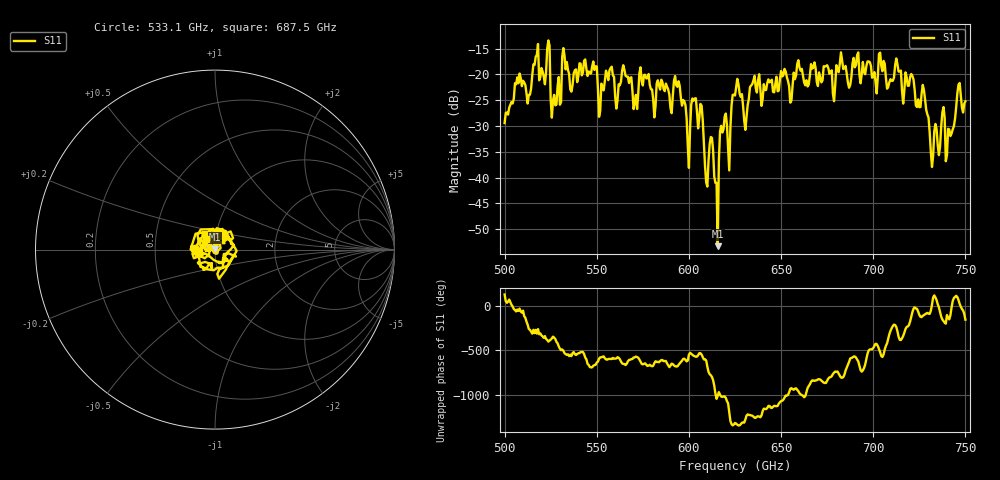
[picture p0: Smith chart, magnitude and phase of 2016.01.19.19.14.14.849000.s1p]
!Created with skrf (http://scikit-rf.org).
# GHz S RI R 50.0
!freq ReS11 ImS11
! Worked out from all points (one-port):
!   401 points, 500 GHz to 750 GHz, reference 50 ohm
!   lowest |S11| = -53.3 dB at 615.6 GHz (marker M1), VSWR 1.00, Z = 50.1 + j0.207 ohm
!   |S11| at or under -10 dB: start of sweep to end of sweep
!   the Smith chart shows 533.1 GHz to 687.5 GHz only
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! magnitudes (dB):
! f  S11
! 500 GHz  -29.4
! 506.9 GHz  -20.6
! 513.1 GHz  -24.0
! 516.9 GHz  -16.6
! 523.1 GHz  -15.0
! 526.9 GHz  -24.0
! 531.2 GHz  -16.6
! 562.5 GHz  -22.1
! 593.8 GHz  -22.4
! 599.4 GHz  -33.7
! 603.1 GHz  -24.7
! 606.9 GHz  -26.0
! 609.4 GHz  -40.9
! 611.9 GHz  -32.1
! 615.6 GHz  -53.3
! 618.1 GHz  -31.3
! 621.9 GHz  -38.6
! 625 GHz  -24.1
! 630.6 GHz  -30.7
! 634.4 GHz  -21.9
! 656.2 GHz  -22.1
! 660 GHz  -18.7
! 687.5 GHz  -22.0
! 718.8 GHz  -22.2
! 727.5 GHz  -23.0
! 731.9 GHz  -37.9
! 746.2 GHz  -22.0
! 750 GHz  -25.2
